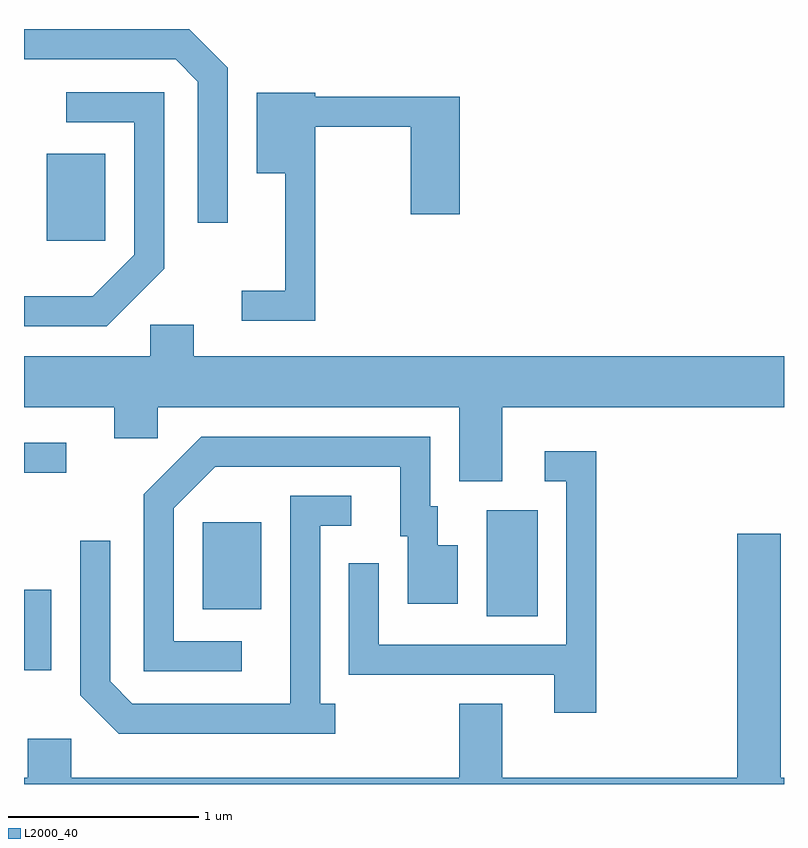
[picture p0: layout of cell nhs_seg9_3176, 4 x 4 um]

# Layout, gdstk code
import gdstk
lib = gdstk.Library(unit=1e-6, precision=1e-09)
def R(c, l, rs):  # rectangles x0, y0, x1, y1
    for r in rs: c.add(gdstk.rectangle(r[:2], r[2:], *l))
def P(c, l, *ps):  # polygons
    for p in ps: c.add(gdstk.Polygon(p, *l))
L2000_40 = (2000, 40)

nhs_seg9_3176 = lib.new_cell('nhs_seg9_3176')
R(nhs_seg9_3176, L2000_40, [(277.611,2057.031,277.754,2057.454), (280.046,2057.316,280.314,2057.874), (278.551,2057.351,278.859,2057.809), (277.611,2058.071,277.833,2058.229), (277.731,2059.291,278.039,2059.749), (278.731,2060.431,278.959,2060.432)])
P(nhs_seg9_3176, L2000_40, [(278.684,2060.202),(278.482,2060.404),(277.611,2060.404),(277.611,2060.246),(278.409,2060.246),(278.526,2060.129),(278.526,2059.387),(278.684,2059.387)],
  [(278.349,2059.144),(278.349,2060.074),(277.833,2060.074),(277.833,2059.916),(278.191,2059.916),(278.191,2059.217),(277.974,2058.999),(277.611,2058.999),(277.611,2058.841),(278.047,2058.841)],
  [(279.144,2059.891),(279.646,2059.891),(279.646,2059.431),(279.904,2059.431),(279.904,2060.049),(279.144,2060.049),(279.144,2060.069),(278.836,2060.069),(278.836,2059.646),(278.986,2059.646),(278.986,2059.029),(278.758,2059.029),(278.758,2058.871),(279.144,2058.871)],
  [(280.129,2058.416),(281.611,2058.416),(281.611,2058.684),(278.504,2058.684),(278.504,2058.849),(278.276,2058.849),(278.276,2058.684),(277.611,2058.684),(277.611,2058.416),(278.086,2058.416),(278.086,2058.251),(278.314,2058.251),(278.314,2058.416),(279.901,2058.416),(279.901,2058.026),(280.129,2058.026)],
  [(278.758,2057.184),(278.399,2057.184),(278.399,2057.884),(278.617,2058.101),(279.591,2058.101),(279.591,2057.736),(279.631,2057.736),(279.631,2057.381),(279.894,2057.381),(279.894,2057.689),(279.789,2057.689),(279.789,2057.894),(279.749,2057.894),(279.749,2058.259),(278.544,2058.259),(278.241,2057.957),(278.241,2057.026),(278.758,2057.026)],
  [(280.624,2058.184),(280.353,2058.184),(280.353,2058.026),(280.466,2058.026),(280.466,2057.164),(279.479,2057.164),(279.479,2057.593),(279.321,2057.593),(279.321,2057.006),(280.401,2057.006),(280.401,2056.806),(280.624,2056.806)],
  [(279.248,2056.854),(279.169,2056.854),(279.169,2057.791),(279.333,2057.791),(279.333,2057.949),(279.011,2057.949),(279.011,2056.854),(278.182,2056.854),(278.064,2056.972),(278.064,2057.713),(277.906,2057.713),(277.906,2056.899),(278.109,2056.696),(279.248,2056.696)],
  [(281.611,2056.464),(281.594,2056.464),(281.594,2057.749),(281.366,2057.749),(281.366,2056.464),(280.129,2056.464),(280.129,2056.854),(279.901,2056.854),(279.901,2056.464),(277.859,2056.464),(277.859,2056.669),(277.631,2056.669),(277.631,2056.464),(277.611,2056.464),(277.611,2056.432),(281.611,2056.432)])

lib.write_gds('nhs_seg9_3176.gds')
